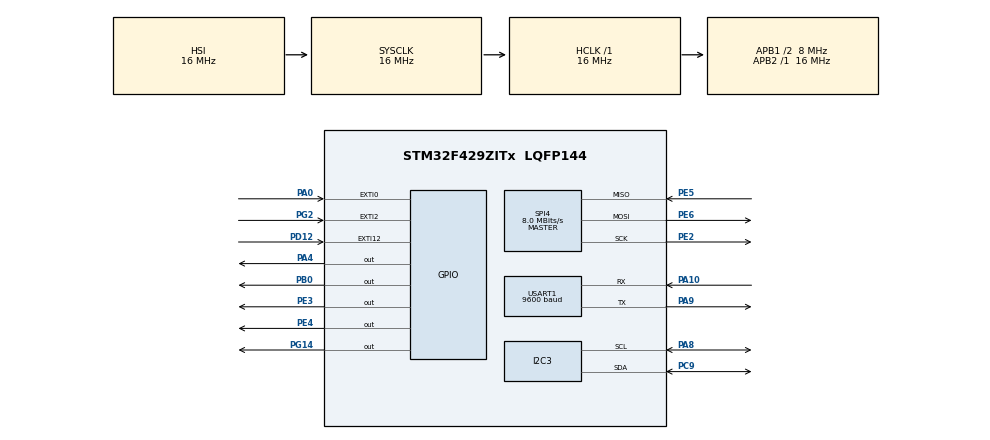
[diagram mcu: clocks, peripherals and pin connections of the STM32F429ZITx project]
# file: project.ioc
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Mcu.Family=STM32F4
Mcu.Name=STM32F429ZITx
Mcu.Package=LQFP144
NVIC.EXTI0_IRQn=true\:0\:0\:false\:false\:true\:true\:true\:true
NVIC.EXTI15_10_IRQn=true\:0\:0\:false\:false\:true\:true\:true\:true
NVIC.EXTI2_IRQn=true\:0\:0\:false\:false\:true\:true\:true\:true
NVIC.PriorityGroup=NVIC_PRIORITYGROUP_4
PA0/WKUP.GPIO_ModeDefaultEXTI=GPIO_MODE_IT_RISING_FALLING
PA0/WKUP.Signal=GPXTI0
PA10.Mode=Asynchronous
PA10.Signal=USART1_RX
PA4.Signal=GPIO_Output
PA8.GPIO_Pu=GPIO_PULLUP
PA8.Mode=I2C
PA8.Signal=I2C3_SCL
PA9.Mode=Asynchronous
PA9.Signal=USART1_TX
PB0.Signal=GPIO_Output
PC9.GPIO_Pu=GPIO_PULLUP
PC9.Mode=I2C
PC9.Signal=I2C3_SDA
PD12.GPIO_ModeDefaultEXTI=GPIO_MODE_IT_RISING_FALLING
PD12.Signal=GPXTI12
PE2.Mode=Full_Duplex_Master
PE2.Signal=SPI4_SCK
PE3.Signal=GPIO_Output
PE4.Signal=GPIO_Output
PE5.Mode=Full_Duplex_Master
PE5.Signal=SPI4_MISO
PE6.Mode=Full_Duplex_Master
PE6.Signal=SPI4_MOSI
PG14.PinState=GPIO_PIN_SET
PG14.Signal=GPIO_Output
PG2.GPIO_ModeDefaultEXTI=GPIO_MODE_IT_RISING_FALLING
PG2.Signal=GPXTI2
PH0/OSC_IN.Mode=HSE-External-Oscillator
PH0/OSC_IN.Signal=RCC_OSC_IN
PH1/OSC_OUT.Mode=HSE-External-Oscillator
PH1/OSC_OUT.Signal=RCC_OSC_OUT
ProjectManager.HeapSize=0x200
ProjectManager.StackSize=0x400
ProjectManager.TargetToolchain=STM32CubeIDE
RCC.48MHZClocksFreq_Value=45000000
RCC.AHBFreq_Value=16000000
RCC.APB1CLKDivider=RCC_HCLK_DIV2
RCC.APB1Freq_Value=8000000
RCC.APB1TimFreq_Value=16000000
RCC.APB2Freq_Value=16000000
RCC.APB2TimFreq_Value=16000000
RCC.CortexFreq_Value=16000000
RCC.HCLKFreq_Value=16000000
RCC.HSE_VALUE=8000000
RCC.HSI_VALUE=16000000
RCC.LSE_VALUE=32768
RCC.PLLM=8
RCC.PLLN=90
RCC.SYSCLKFreq_VALUE=16000000
RCC.VCOOutputFreq_Value=180000000
SPI4.CalculateBaudRate=8.0 MBits/s
SPI4.Direction=SPI_DIRECTION_2LINES
SPI4.Mode=SPI_MODE_MASTER
SPI4.VirtualType=VM_MASTER
USART1.BaudRate=9600
USART1.VirtualMode=VM_ASYNC
board=custom

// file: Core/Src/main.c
/* USER CODE BEGIN Header */
/**
  ******************************************************************************
  * @file           : main.c
  * @brief          : Main program body
  ******************************************************************************
  * @attention
  *
  * Copyright (c) 2024 STMicroelectronics.
  * All rights reserved.
  *
  * This software is licensed under terms that can be found in the LICENSE file
  * in the root directory of this software component.
  * If no LICENSE file comes with this software, it is provided AS-IS.
  *
  ******************************************************************************
  */
/* USER CODE END Header */
#include "main.h"
#include "i2c.h"
#include "spi.h"
#include "usart.h"
#include "gpio.h"

/* USER CODE BEGIN Includes */
#include "string.h"
#include <stdio.h>
#include "stm32f4xx.h"
#include "sdram_cfg.h"
#include "ltdc_cfg.h"
#include "drawing.h"
#include "clock_cfg.h"
#include "spi_cfg.h"
#include "ili9341.h"
#include "string.h"

#include "ds1307_for_stm32_hal.h"
#include "rc522.h"
#include "flash_mem.h"
/* USER CODE END Includes */

/* USER CODE BEGIN PV */
uint8_t status;
uint8_t str[MAX_LEN]; // Max_LEN = 16
uint8_t sNum[5];
#define NextPg 	100
#define PrevPg 	101
#define ScanID 	102
#define Reset 	103
#define None 	104
#define Test	105
#define End		106
#define SendData 107

/* USER CODE END PV */

void SystemClock_Config(void);

/* USER CODE BEGIN 0 */
const char *names[] = {
	"BIEN PHUOC QUYEN",
	"BUI NGUYEN DAI THANH",
	"BUI VAN SINH",
	"CAO QUANG MINH",
	"DUONG ANH KHOI",
	"DANG DUC PHAT",
	"DAO DANG THANH AN",
	"DAO TIEN HUNG",
	"HO DANG MANH HUNG",
	"HOANG MINH TUONG",
	"HOANG TRONG DUONG",
	"HUYNH GIA LAM",
	"HUYNH KHUONG DUY",
	"HUYNH NGOC QUYNH UYEN",
	"LE HOANG THINH",
	"LE THANH LOI",
	"LY CHI HAI",
	"MAI HOANG HUY",
	"NGUYEN DANG THANH TUE",
	"NGUYEN DINH QUOC",
	"NGUYEN DUC HUY",
	"NGUYEN HA HAI",
	"NGUYEN HOANG GIA PHUC",
	"NGUYEN MINH TRI",
	"NGUYEN MINH ANH",
	"NGUYEN NGO NHAT TOAN",
	"NGUYEN NGOC DU",
	"NGUYEN NGOC MINH QUOC",
	"NGUYEN NHAT TAN",
	"NGUYEN THANH HOANG",
	"NGUYEN THANH QUAN",
	"NGUYEN THANH AN",
	"NGUYEN THI NHU QUYNH",
	"NGUYEN TRUONG ANH KIEN",
	"NGUYEN VU NAM",
	"NGUYEN XUAN TRI",
	"NONG HONG HOAT",
	"PHAM THI PHUONG ANH",
	"PHAN DANG KHOI",
	"PHAN QUOC DUNG",
	"PHAN TIEN NHAT",
	"TONG VIET TRUONG",
	"TRAN AN HUY",
	"TRAN DONG TRUC LAM",
	"TRAN LE THANH TUNG",
	"TRAN MINH TRI",
	"TRAN NGOC ANH",
	"TRINH THU THANH",
	"TRUONG CONG SON",
	"NGUYEN THIEN HOAN PHUC"
};
int Npage = 0, Ppage = 0, state = ScanID, endScan = 0, isEnd = 0;
const char *DAYS_OF_WEEK[7] = { "SUN", "MON", "TUE", "WED", "THU", "FRI", "SAT" };
uint8_t keyG = 0, keyB = 0, keyY = 0, keyR = 0;
struct Student {
    uint8_t order;
	char ID[10];
	char name[30];
	char time[50];
	uint32_t addr;
};
struct Page {
	uint8_t size;
	struct Student student[6];
};

void HAL_GPIO_EXTI_Callback(uint16_t GPIO_Pin)
{
    if (GPIO_Pin == GPIO_PIN_2)
    {
    	if (keyG == 0) {
    		keyG = 1;
    	} else {
    		keyG = 0;
    		state = NextPg;
    	}
    }
    if (GPIO_Pin == GPIO_PIN_12)
    {
    	if (keyB == 0) {
    		keyB = 1;
    	} else {
    		keyB = 0;
    		state = PrevPg;
    	}
    }
    if (GPIO_Pin == GPIO_PIN_0)
    {
    	if (keyY == 0) {
    		keyY = 1;
    	} else {
    		keyY = 0;
    		state = Reset;
    	}
    }
    if (GPIO_Pin == GPIO_PIN_1)
    {
    	if (keyY == 0) {
    		keyY = 1;
    	} else {
    		keyY = 0;
    		state = SendData;
    	}
    }
}

const char* Get_Name(struct Page* p, int index, uint8_t cpage, uint8_t csize) {
	if (strcmp(p[cpage].student[csize].ID, "CA985464") == 0) {
		return names[49];
	}
	else if (strcmp(p[cpage].student[csize].ID, "7A1B4564") == 0) {
		return names[29];
	}
	else if (strcmp(p[cpage].student[csize].ID, "AFB1564") == 0) {
		return names[22];
	}
	else if (strcmp(p[cpage].student[csize].ID, "8C5058A1") == 0) {
		return names[5];
	}
    int total_names = sizeof(names) / sizeof(names[0]);
    uint32_t tick_value = HAL_GetTick();
    int random_index = tick_value % total_names;
    return names[random_index];
}
void Set_Time() {
	DS1307_SetTimeZone(+7, 00);
	DS1307_SetDate(20);
	DS1307_SetMonth(12);
	DS1307_SetYear(2024);
	//DS1307_SetDayOfWeek(5);
	DS1307_SetHour(18);
	DS1307_SetMinute(00);
	DS1307_SetSecond(00);
}

void UI_Init(uint8_t page, uint8_t size) {
	Fill_Black(0, LCD_ACTIVE_WIDTH, 0, LCD_ACTIVE_HEIGHT);
	char buffer[50];
	Draw_String(30, 10, "CLASS: CE224.P14", COLOR_WHITE, COLOR_BLACK);
	sprintf(buffer, "SS: %d/50", size);
	Draw_String(150, 10, buffer, COLOR_WHITE, COLOR_BLACK);
	//Draw_String(150, 10, "SS: 0/53", COLOR_WHITE, COLOR_BLACK);
	for (uint16_t x = 0; x < LCD_ACTIVE_WIDTH; x++) {
		Draw_Pixel(x, 20, COLOR_WHITE);
	}
	for (uint16_t y = 0; y < 308; y++) {
		Draw_Pixel(20, y, COLOR_WHITE);
	}
	uint16_t ty = 20;
	while (ty != 356)
	{
		for (uint16_t x = 0; x < LCD_ACTIVE_WIDTH; x++) {
			Draw_Pixel(x, ty, COLOR_WHITE);
		}
		ty = ty + 48;
	}
	sprintf(buffer, "- PAGE %d -", page);
	Draw_String(90,311, buffer, COLOR_WHITE, COLOR_BLACK);
}
void New_Page_Init(uint8_t page) {
	uint16_t sy = 21, ey = 63;
	uint16_t sy2 = 44, ey2 = 54;
	Fill_Black(30, 180, sy, ey);
	Fill_Black(0, 15, sy2, ey2);
	Fill_Black(30, 180, sy+=48, ey+=48);
	Fill_Black(0, 15, sy2+=48, ey2+=48);
	Fill_Black(30, 180, sy+=48, ey+=48);
	Fill_Black(0, 15, sy2+=48, ey2+=48);
	Fill_Black(30, 180, sy+=48, ey+=48);
	Fill_Black(0, 15, sy2+=48, ey2+=48);
	Fill_Black(30, 180, sy+=48, ey+=48);
	Fill_Black(0, 15, sy2+=48, ey2+=48);
	Fill_Black(30, 180, sy+=48, ey+=48);
	Fill_Black(0, 15, sy2+=48, ey2+=48);
	Fill_Black(90, 140, 311, 320);
	char buffer[50];
	sprintf(buffer, "- PAGE %d -", page);
	Draw_String(90, 311, buffer, COLOR_WHITE, COLOR_BLACK);
}
void printStudent(struct Page* p, uint8_t page, uint8_t order) {
	uint16_t ty1 = 32 + (48 * order);
	uint16_t ty2 = 44 + (48 * order);
	uint16_t ty3 = 56 + (48 * order);
	char buffer[50];
	sprintf(buffer, "%d", p[page].student[order].order);
	if (p[page].student[order].order >= 10) {
		Draw_String(3, ty2, buffer, COLOR_WHITE, COLOR_BLACK);
	}
	else {
		Draw_String(7, ty2, buffer, COLOR_WHITE, COLOR_BLACK);
	}
	Draw_String(30, ty1, p[page].student[order].name, COLOR_WHITE, COLOR_BLACK);

	sprintf(buffer, "MSSV: %s", p[page].student[order].ID);
	Draw_String(30, ty2, buffer, COLOR_WHITE, COLOR_BLACK);

	Draw_String(30, ty3, p[page].student[order].time, COLOR_WHITE, COLOR_BLACK);
}
void Print_Students_InPg(struct Page* p, uint8_t page, uint8_t size) {
	for (int i = 0; i < size; i++) {
		printStudent(p, page, i);
	}
}
void Get_Time(char* buffer) {
	uint8_t  date   = DS1307_GetDate();
	uint8_t  month  = DS1307_GetMonth();
	uint16_t year   = DS1307_GetYear();
	uint8_t  dow    = DS1307_GetDayOfWeek();
	uint8_t  hour   = DS1307_GetHour();
	uint8_t  minute = DS1307_GetMinute();
	uint8_t  second = DS1307_GetSecond();
	sprintf(buffer, "%02d:%02d:%02d - %02d/%02d/%04d - %s\n",
			hour, minute, second, date, month, year, DAYS_OF_WEEK[dow]);
}

void Address_Init(struct Page* p, uint8_t page) {
	uint32_t a = 0x080E0000;
	uint8_t order = 0;
	for (int i = 1; i <= page; i++) {
		for (int j = 0; j < 6; j++) {
			a = a + 0x50;
			p[i].student[j].addr = a;
			order++;
			p[i].student[j].order = order;
		}
	}
}
void New_SS(uint8_t size) {
	char buffer[20];
	sprintf(buffer, "SS: %d/50", size);
	Draw_String(150, 10, buffer, COLOR_WHITE, COLOR_BLACK);
}
uint8_t isDuplicateID(struct Page* p, uint8_t currentPage, uint8_t currentSize, const char* newID)
{
	if (currentPage == 1 && currentSize == 0) return 0;
    for (uint8_t page = 1; page <= currentPage; page++) {
        uint8_t maxStudents = (page == currentPage) ? currentSize : 6;
        for (uint8_t i = 0; i < maxStudents; i++) {
            if (strcmp(p[page].student[i].ID, newID) == 0) {
                return 1;
            }
        }
    }
    return 0;
}
/* USER CODE END 0 */

int main(void)
{

  /* USER CODE BEGIN 1 */
    //Clock_Init();

  /* USER CODE END 1 */

  /* MCU Configuration--------------------------------------------------------*/

  /* Reset of all peripherals, Initializes the Flash interface and the Systick. */
  HAL_Init();

  /* Configure the system clock */
  SystemClock_Config();

  /* USER CODE BEGIN SysInit */
  PLLSAI_Init();
  SysTick_Config(1800);
  /* USER CODE END SysInit */

  /* Initialize all configured peripherals */
  MX_GPIO_Init();
  MX_USART1_UART_Init();
  MX_SPI4_Init();
  MX_I2C3_Init();
  /* USER CODE BEGIN 2 */
  MFRC522_Init();
  SDRAM_IO_Init();
  SDRAM_Init();
  LTDC_IO_Init();
  LTDC_Core_Init();
  SPI5_IO_Init();
  SPI5_Core_Init();
  ili9341_IO_Init();
  ili9341_Init();
  //Set_Time();
  /* USER CODE END 2 */

  /* Infinite loop */
  /* USER CODE BEGIN WHILE */
  char buffer[50], buffer2[50], txBuffer[200];
  //char buffer1[50], buffer3[50], buffer4[50];
  uint8_t currentPage = 1, currentSize = 0, totalSize = 0, totalPage = 1;
  //UI_Init(currentPage, currentSize);
  struct Page page[12];
  DS1307_Init(&hi2c3);
  //DS1307_SetDayOfWeek(4);
  //Set_Time();
  Address_Init(page, 10);

  //Flash_Erase_Sector11();
  for (int i = 1; i <= 10; i++) {
	  for (int j = 0; j < 6; j++) {
		  if (Flash_Read_CharArr(buffer2, page[i].student[j].addr) == 0) {
			  break;
		  }
		  strcpy(page[i].student[j].ID, buffer2);
		  if (Flash_Read_CharArr(buffer2, page[i].student[j].addr + 0x10) == 0) {
			  break;
		  }
		  strcpy(page[i].student[j].name, buffer2);
		  if (Flash_Read_CharArr(buffer2, page[i].student[j].addr + 0x30) == 0) {
			  break;
		  }
		  strcpy(page[i].student[j].time, buffer2);
		  currentSize = j + 1;
		  totalSize++;
		  currentPage = i;
		  totalPage = i;
	  }
  }
  if (currentPage >= 1 && currentSize != 0) {
	  UI_Init(currentPage, totalSize);
	  Print_Students_InPg(page, currentPage, currentSize);
  }
  else {
	  currentPage = 1, currentSize = 0, totalSize = 0, totalPage = 1;
	  UI_Init(currentPage, totalSize);
	  //Print_Students_InPg(page, currentPage, currentSize);
  }
  //__disable_irq();
  int index = 0;
  while (1)
  {
	  HAL_GPIO_WritePin(GPIOG, GPIO_PIN_14, 1);
    /* USER CODE END WHILE */

    /* USER CODE BEGIN 3 */
		switch (state) {
		case NextPg:
			__disable_irq();
			if (totalPage == 1) {
				state = ScanID;
				__enable_irq();
				break;
			}
			Npage++;
			if (Npage == currentPage) {
				state = ScanID;
				UI_Init(Npage, totalSize);
				Print_Students_InPg(page, Npage, currentSize);
			} else {
				if (Npage > currentPage) {
					Npage = 1;
				}
				UI_Init(Npage, totalSize);
				Print_Students_InPg(page, Npage, 6);
				state = None;
			}
			Ppage = Npage;
			__enable_irq();
			break;
		case PrevPg:
			__disable_irq();
			if (totalPage == 1) {
				state = ScanID;
				__enable_irq();
				break;
			}
			Ppage--;
			if (Ppage <= 0) {
				Ppage = currentPage;
			}
			if (Ppage == currentPage) {
				state = ScanID;
				UI_Init(Ppage, totalSize);
				Print_Students_InPg(page, Ppage, currentSize);
			} else {
				UI_Init(Ppage, totalSize);
				Print_Students_InPg(page, Ppage, 6);
				state = None;
			}
			Npage = Ppage;
			__enable_irq();
			break;
		case ScanID:
			MFRC522_Request(PICC_REQIDL, str);
			status = MFRC522_Anticoll(str);
			if (status == MI_OK && isEnd != 1)
			{

				sprintf(buffer, "%X%X%X%X", str[0], str[1], str[2], str[3]);
				if (isDuplicateID(page, totalPage, currentSize, buffer) == 1) {
					break;
				}
				HAL_GPIO_WritePin(GPIOG, GPIO_PIN_14, 0);
				//__disable_irq();
				if (currentSize == 6) {
					currentPage++;
					totalPage++;
					Npage = currentPage;
					Ppage = currentPage;
					currentSize = 0;
					UI_Init(currentPage, totalSize);
				}
				//page[currentPage].student[currentSize].order = totalSize + 1;
				// Get uid
				strcpy(page[currentPage].student[currentSize].ID, buffer);
				Flash_Write_CharArr(buffer, page[currentPage].student[currentSize].addr);
				// Get name
				strcpy(buffer, Get_Name(page, index++, currentPage, currentSize));
				strcpy(page[currentPage].student[currentSize].name, buffer);
				Flash_Write_CharArr(buffer, page[currentPage].student[currentSize].addr + 0x10);
				// Get time
				Get_Time(buffer);
				strcpy(page[currentPage].student[currentSize].time, buffer);
				Flash_Write_CharArr(buffer, page[currentPage].student[currentSize].addr + 0x30);

				printStudent(page, currentPage, currentSize);
				sprintf(txBuffer, "%s|%s|%s", page[currentPage].student[currentSize].name, page[currentPage].student[currentSize].ID, page[currentPage].student[currentSize].time);
				HAL_UART_Transmit(&huart1, txBuffer, strlen(txBuffer), 1000);
				currentSize++;
				totalSize++;
				if (totalSize == 50) state = End;
				New_SS(totalSize);

				HAL_Delay(30000);
				//__enable_irq();
				//HAL_Delay(15000);
			}
			break;
		case Reset:

			HAL_Delay(5000);
			Flash_Erase_Sector11();
			HAL_Delay(5000);
			Fill_Black(0, LCD_ACTIVE_WIDTH, 0, LCD_ACTIVE_HEIGHT);
			currentPage = 1, currentSize = 0, totalSize = 0, totalPage = 1;
			isEnd = 0;
			UI_Init(currentPage, totalSize);
			state = ScanID;

			break;
		case End:
			isEnd = 1;
			break;
		default:
			break;
		}
  }
  /* USER CODE END 3 */
}

void SystemClock_Config(void)
{
  RCC_OscInitTypeDef RCC_OscInitStruct = {0};
  RCC_ClkInitTypeDef RCC_ClkInitStruct = {0};

  /** Configure the main internal regulator output voltage
  */
  __HAL_RCC_PWR_CLK_ENABLE();
  __HAL_PWR_VOLTAGESCALING_CONFIG(PWR_REGULATOR_VOLTAGE_SCALE3);

  /** Initializes the RCC Oscillators according to the specified parameters
  * in the RCC_OscInitTypeDef structure.
  */
  RCC_OscInitStruct.OscillatorType = RCC_OSCILLATORTYPE_HSI;
  RCC_OscInitStruct.HSIState = RCC_HSI_ON;
  RCC_OscInitStruct.HSICalibrationValue = RCC_HSICALIBRATION_DEFAULT;
  RCC_OscInitStruct.PLL.PLLState = RCC_PLL_NONE;
  if (HAL_RCC_OscConfig(&RCC_OscInitStruct) != HAL_OK)
  {
    Error_Handler();
  }

  /** Initializes the CPU, AHB and APB buses clocks
  */
  RCC_ClkInitStruct.ClockType = RCC_CLOCKTYPE_HCLK|RCC_CLOCKTYPE_SYSCLK
                              |RCC_CLOCKTYPE_PCLK1|RCC_CLOCKTYPE_PCLK2;
  RCC_ClkInitStruct.SYSCLKSource = RCC_SYSCLKSOURCE_HSI;
  RCC_ClkInitStruct.AHBCLKDivider = RCC_SYSCLK_DIV1;
  RCC_ClkInitStruct.APB1CLKDivider = RCC_HCLK_DIV2;
  RCC_ClkInitStruct.APB2CLKDivider = RCC_HCLK_DIV1;

  if (HAL_RCC_ClockConfig(&RCC_ClkInitStruct, FLASH_LATENCY_0) != HAL_OK)
  {
    Error_Handler();
  }
}

void Error_Handler(void)
{
  __disable_irq();
  while (1)
  {
  }
}
